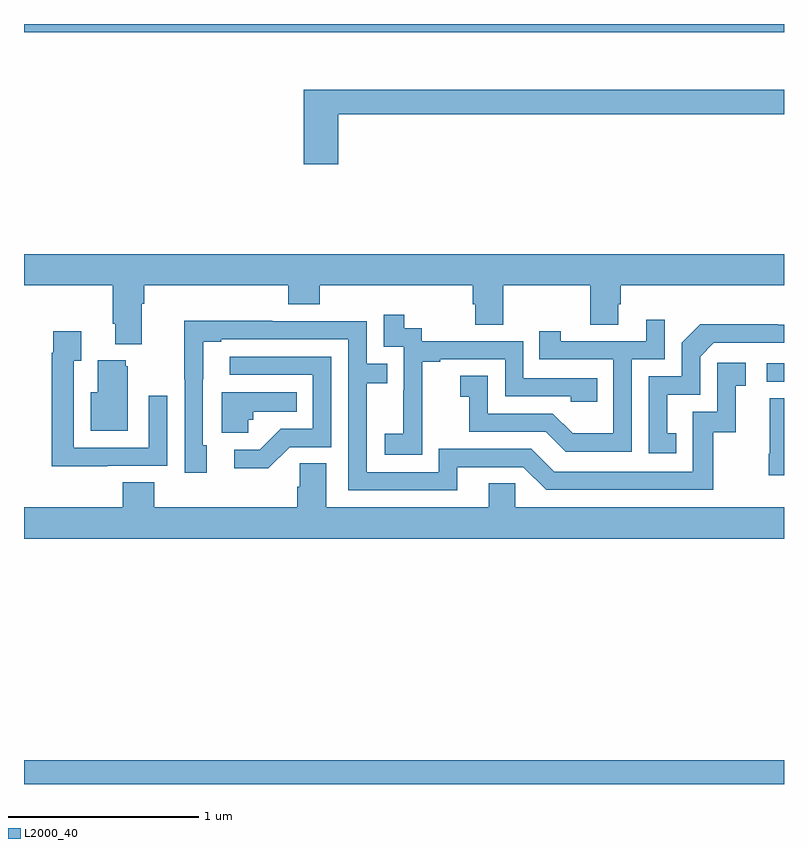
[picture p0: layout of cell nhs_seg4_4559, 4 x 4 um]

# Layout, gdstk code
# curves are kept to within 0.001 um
import gdstk
lib = gdstk.Library(unit=1e-6, precision=1e-09)
def R(c, l, rs):  # rectangles x0, y0, x1, y1
    for r in rs: c.add(gdstk.rectangle(r[:2], r[2:], *l))
def P(c, l, *ps):  # polygons
    for p in ps: c.add(gdstk.Polygon(p, *l))
L2000_40 = (2000, 40)

nhs_seg4_4559 = lib.new_cell('nhs_seg4_4559')
R(nhs_seg4_4559, L2000_40, [(357,756.9,361,757.024), (360.909,759.018,361,759.114), (357,760.856,361,760.9)])
P(nhs_seg4_4559, L2000_40, [(358.655,760.426),(361,760.426),(361,760.555),(358.472,760.555),(358.472,760.161),(358.655,760.161)],
  [(357.619,759.428),(357.632,759.428),(357.632,759.524),(358.391,759.524),(358.391,759.425),(358.556,759.425),(358.556,759.524),(359.363,759.524),(359.363,759.426),(359.375,759.426),(359.375,759.316),(359.523,759.316),(359.523,759.524),(359.98,759.524),(359.98,759.316),(360.127,759.316),(360.127,759.426),(360.14,759.426),(360.14,759.524),(361,759.524),(361,759.688),(357,759.688),(357,759.524),(357.467,759.524),(357.467,759.322),(357.479,759.322),(357.479,759.215),(357.619,759.215)],
  [(359.097,758.839),(359.096,758.839),(359.096,759.123),(359.191,759.123),(359.191,759.135),(359.532,759.135),(359.532,758.94),(359.877,758.94),(359.877,758.913),(360.017,758.913),(360.017,759.036),(359.628,759.036),(359.628,759.231),(359.094,759.231),(359.094,759.3),(359.002,759.3),(359.002,759.37),(358.893,759.37),(358.893,759.201),(358.998,759.201),(358.998,758.972),(358.997,758.972),(358.997,758.743),(358.899,758.743),(358.899,758.633),(359.097,758.633)],
  [(360.198,759.135),(360.372,759.135),(360.372,759.343),(360.275,759.343),(360.275,759.231),(359.824,759.231),(359.824,759.283),(359.713,759.283),(359.713,759.135),(360.102,759.135),(360.102,758.746),(359.888,758.746),(359.784,758.85),(359.442,758.85),(359.442,759.049),(359.295,759.049),(359.295,758.939),(359.344,758.939),(359.344,758.754),(359.747,758.754),(359.852,758.649),(360.198,758.649)],
  [(359.281,758.568),(359.628,758.568),(359.748,758.448),(360.628,758.448),(360.628,758.751),(360.746,758.751),(360.746,758.997),(360.799,758.997),(360.799,759.118),(360.648,759.118),(360.648,758.859),(360.519,758.859),(360.519,758.544),(359.79,758.544),(359.67,758.664),(359.184,758.664),(359.184,758.541),(358.803,758.541),(358.803,759.01),(358.913,759.01),(358.913,759.111),(358.803,759.111),(358.803,759.336),(358.307,759.336),(358.307,759.338),(357.844,759.338),(357.844,759.031),(357.846,759.031),(357.846,758.538),(357.961,758.538),(357.961,758.682),(357.942,758.682),(357.943,759.228),(358.039,759.228),(358.039,759.24),(358.707,759.24),(358.707,758.445),(359.281,758.445)],
  [(360.434,758.745),(360.385,758.745),(360.385,758.949),(360.558,758.949),(360.558,759.15),(360.63,759.222),(361,759.222),(361,759.318),(360.968,759.318),(360.968,759.32),(360.56,759.32),(360.462,759.222),(360.462,759.045),(360.288,759.045),(360.288,758.64),(360.434,758.64)],
  [(357.437,758.574),(357.753,758.574),(357.753,758.944),(357.657,758.944),(357.657,758.67),(357.261,758.67),(357.261,759.127),(357.301,759.127),(357.301,759.283),(357.153,759.283),(357.153,759.17),(357.145,759.17),(357.145,758.573),(357.437,758.573)],
  [(358.398,758.673),(358.617,758.673),(358.617,759.15),(358.083,759.15),(358.083,759.054),(358.521,759.054),(358.521,758.769),(358.352,758.769),(358.241,758.658),(358.107,758.658),(358.107,758.561),(358.285,758.561)],
  [(357.547,759.099),(357.536,759.099),(357.536,759.13),(357.389,759.13),(357.389,758.962),(357.35,758.962),(357.35,758.759),(357.547,758.759)],
  [(358.179,758.817),(358.206,758.817),(358.206,758.858),(358.436,758.858),(358.436,758.962),(358.04,758.962),(358.04,758.75),(358.179,758.75)],
  [(361,758.929),(360.926,758.929),(360.926,758.638),(360.919,758.638),(360.919,758.526),(361,758.526)],
  [(361,758.356),(359.586,758.356),(359.586,758.483),(359.447,758.483),(359.447,758.356),(358.591,758.356),(358.591,758.588),(358.452,758.588),(358.452,758.465),(358.439,758.465),(358.439,758.356),(357.686,758.356),(357.686,758.489),(357.521,758.489),(357.521,758.356),(357,758.356),(357,758.192),(361,758.192)])

lib.write_gds('nhs_seg4_4559.gds')
